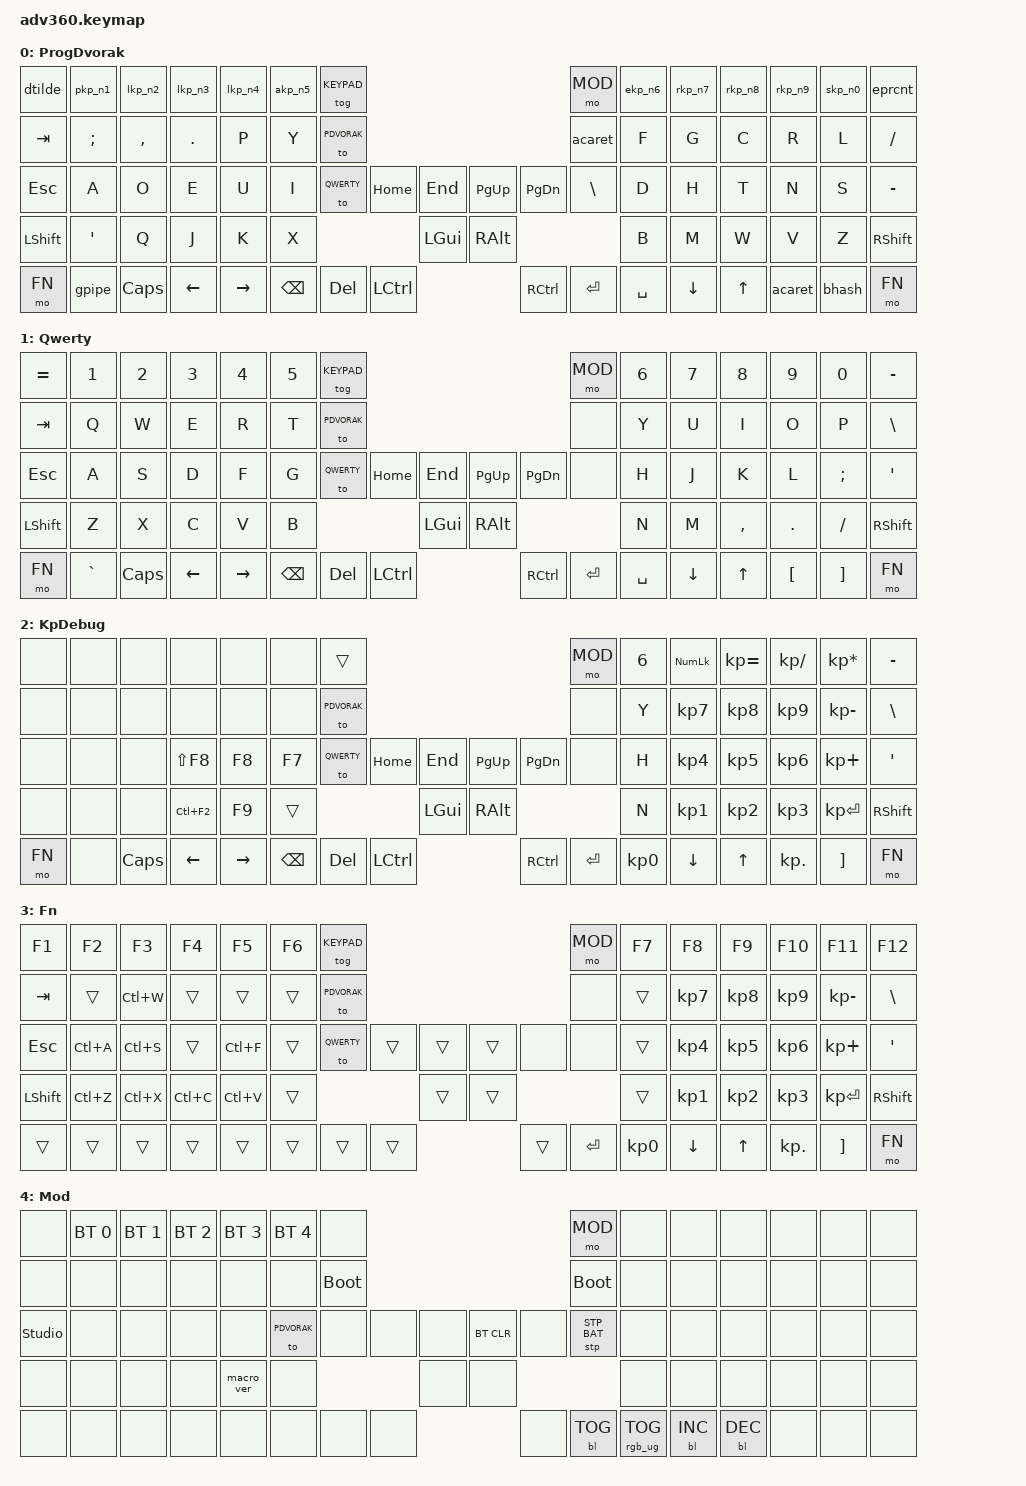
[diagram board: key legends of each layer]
#include <behaviors.dtsi>
#include <dt-bindings/zmk/keys.h>
#include <dt-bindings/zmk/bt.h>
#include <dt-bindings/zmk/rgb.h>
#include <dt-bindings/zmk/stp.h>
#include <dt-bindings/zmk/backlight.h>
#include <dt-bindings/zmk/pointing.h>

#define PDVORAK 0
#define QWERTY  1
#define KEYPAD 2
#define FN 3
#define MOD 4
/ {
    behaviors {
      #include "macros.dtsi"
      #include "version.dtsi"

      hm: homerow_mods {
          compatible = "zmk,behavior-hold-tap";
          label = "HOMEROW_MODS";
          #binding-cells = <2>;
          tapping-term-ms = <200>;
          quick_tap_ms = <175>;
          flavor = "tap-preferred";
          bindings = <&kp>, <&kp>;
      };
      gpipe: grave_pipe {
          compatible = "zmk,behavior-mod-morph";
          label = "grave_pipe";
          #binding-cells = <0>;
          bindings = <&kp GRAVE>, <&kp PIPE>;
          mods = <(LGUI|LSHIFT|RGUI|RSHIFT)>;
      };
      ppipe: pipe_pipe {
          compatible = "zmk,behavior-mod-morph";
          label = "pipe_pipe";
          #binding-cells = <0>;
          bindings = <&kp PIPE>, <&kp PIPE>;
          mods = <(LGUI|LSHIFT|RGUI|RSHIFT)>;
      };
      pkp_n1: plus_kp_n1 {
          compatible = "zmk,behavior-mod-morph";
          label = "plus_kp_n1";
          #binding-cells = <0>;
          bindings = <&kp PLUS>, <&kp KP_N1>;
          mods = <(LGUI|LSHIFT|RGUI|RSHIFT)>;
      };
      lkp_n2: left_bracket_kp_n2 {
          compatible = "zmk,behavior-mod-morph";
          label = "left_bracket_kp_n2";
          #binding-cells = <0>;
          bindings = <&kp LEFT_BRACKET>, <&kp KP_N2>;
          mods = <(LGUI|LSHIFT|RGUI|RSHIFT)>;
      };
      lkp_n3: left_brace_kp_n3 {
          compatible = "zmk,behavior-mod-morph";
          label = "left_brace_kp_n3";
          #binding-cells = <0>;
          bindings = <&kp LEFT_BRACE>, <&kp KP_N3>;
          mods = <(LGUI|LSHIFT|RGUI|RSHIFT)>;
      };
      lkp_n4: left_parenthesis_kp_n4 {
          compatible = "zmk,behavior-mod-morph";
          label = "left_parenthesis_kp_n4";
          #binding-cells = <0>;
          bindings = <&kp LEFT_PARENTHESIS>, <&kp KP_N4>;
          mods = <(LGUI|LSHIFT|RGUI|RSHIFT)>;
      };
      akp_n5: amps_kp_n5 {
          compatible = "zmk,behavior-mod-morph";
          label = "amps_kp_n5";
          #binding-cells = <0>;
          bindings = <&kp AMPS>, <&kp KP_N5>;
          mods = <(LGUI|LSHIFT|RGUI|RSHIFT)>;
      };
      ekp_n6: equal_kp_n6 {
          compatible = "zmk,behavior-mod-morph";
          label = "equal_kp_n6";
          #binding-cells = <0>;
          bindings = <&kp EQUAL>, <&kp KP_N6>;
          mods = <(LGUI|LSHIFT|RGUI|RSHIFT)>;
      };
      rkp_n7: right_parenthesis_kp_n7 {
          compatible = "zmk,behavior-mod-morph";
          label = "right_parenthesis_kp_n7";
          #binding-cells = <0>;
          bindings = <&kp RIGHT_PARENTHESIS>, <&kp KP_N7>;
          mods = <(LGUI|LSHIFT|RGUI|RSHIFT)>;
      };
      rkp_n8: right_brace_kp_n8 {
          compatible = "zmk,behavior-mod-morph";
          label = "right_brace_kp_n8";
          #binding-cells = <0>;
          bindings = <&kp RIGHT_BRACE>, <&kp KP_N8>;
          mods = <(LGUI|LSHIFT|RGUI|RSHIFT)>;
      };
      rkp_n9: right_bracket_kp_n9 {
          compatible = "zmk,behavior-mod-morph";
          label = "right_bracket_kp_n9";
          #binding-cells = <0>;
          bindings = <&kp RIGHT_BRACKET>, <&kp KP_N9>;
          mods = <(LGUI|LSHIFT|RGUI|RSHIFT)>;
      };
      skp_n0: star_kp_n0 {
          compatible = "zmk,behavior-mod-morph";
          label = "star_kp_n0";
          #binding-cells = <0>;
          bindings = <&kp STAR>, <&kp KP_N0>;
          mods = <(LGUI|LSHIFT|RGUI|RSHIFT)>;
      };
      eprcnt: excl_prcnt {
          compatible = "zmk,behavior-mod-morph";
          label = "excl_prcnt";
          #binding-cells = <0>;
          bindings = <&kp EXCL>, <&kp PRCNT>;
          mods = <(LGUI|LSHIFT|RGUI|RSHIFT)>;
      };
      dgrave: dllr_grave {
          compatible = "zmk,behavior-mod-morph";
          label = "dllr_grave";
          #binding-cells = <0>;
          bindings = <&kp DLLR>, <&kp GRAVE>;
          mods = <(LGUI|LSHIFT|RGUI|RSHIFT)>;
      };
      dtilde: dllr_tilde {
          compatible = "zmk,behavior-mod-morph";
          label = "dllr_tilde";
          #binding-cells = <0>;
          bindings = <&kp DLLR>, <&kp TILDE>;
          mods = <(LGUI|LSHIFT|RGUI|RSHIFT)>;
      };
      ggrave: grave_grave {
          compatible = "zmk,behavior-mod-morph";
          label = "grave_grave";
          #binding-cells = <0>;
          bindings = <&kp GRAVE>, <&kp GRAVE>;
          mods = <(LGUI|LSHIFT|RGUI|RSHIFT)>;
      };
      pgrave: pipe_grave {
          compatible = "zmk,behavior-mod-morph";
          label = "pipe_grave";
          #binding-cells = <0>;
          bindings = <&kp GRAVE>, <&kp PIPE>;
          mods = <(LGUI|LSHIFT|RGUI|RSHIFT)>;
      };
      bhash: bslh_hash {
          compatible = "zmk,behavior-mod-morph";
          label = "bslh_hash";
          #binding-cells = <0>;
          bindings = <&kp BSLH>, <&kp HASH>;
          mods = <(LGUI|LSHIFT|RGUI|RSHIFT)>;
      };
      acaret: at_caret {
          compatible = "zmk,behavior-mod-morph";
          label = "at_caret";
          #binding-cells = <0>;
          bindings = <&kp AT>, <&kp CARET>;
          mods = <(LGUI|LSHIFT|RGUI|RSHIFT)>;
      };
    };

  keymap {
    compatible = "zmk,keymap";

    dvorak_prog {
        display-name = "ProgDvorak";
        bindings = <
            &dtilde    &pkp_n1   &lkp_n2     &lkp_n3   &lkp_n4    &akp_n5  &tog KEYPAD                                                             &mo MOD  &ekp_n6  &rkp_n7  &rkp_n8   &rkp_n9   &skp_n0  &eprcnt
            &kp TAB    &kp SEMI  &kp COMMA   &kp DOT   &kp P      &kp Y    &to  PDVORAK                                                            &acaret  &kp F    &kp G    &kp C     &kp R     &kp L    &kp FSLH
            &kp ESC    &kp A     &kp O       &kp E     &kp U      &kp I    &to  QWERTY      &kp HOME   &kp END   &kp PG_UP   &kp PG_DN             &kp BSLH &kp D    &kp H    &kp T     &kp N     &kp S    &kp MINUS
            &kp LSHFT  &kp SQT   &kp Q       &kp J     &kp K      &kp X                                &kp LGUI  &kp RALT                                   &kp B    &kp M    &kp W     &kp V     &kp Z    &kp RSHFT
            &mo FN     &gpipe   &kp CAPS    &kp LEFT  &kp RIGHT                   &kp BSPC &kp DEL   &kp LCTRL &kp RCTRL   &kp ENTER   &kp SPACE                    &kp DOWN &kp UP    &acaret   &bhash   &mo FN
        >;
    };
    qwerty {
      display-name = "Qwerty";
      bindings = <
        &kp EQUAL &kp N1    &kp N2   &kp N3   &kp N4     &kp N5 &tog KEYPAD                                                           &mo MOD &kp N6 &kp N7 &kp N8    &kp N9   &kp N0   &kp MINUS
        &kp TAB   &kp Q     &kp W    &kp E    &kp R      &kp T  &to  PDVORAK                                                          &none   &kp Y  &kp U  &kp I     &kp O    &kp P    &kp BSLH
        &kp ESC   &kp A     &kp S    &kp D    &kp F      &kp G  &to  QWERTY     &kp HOME  &kp END   &kp PG_UP &kp PG_DN               &none   &kp H  &kp J  &kp K     &kp L    &kp SEMI &kp SQT
        &kp LSHFT &kp Z     &kp X    &kp C    &kp V      &kp B                            &kp LGUI  &kp RALT                                  &kp N  &kp M  &kp COMMA &kp DOT  &kp FSLH &kp RSHFT
        &mo FN    &kp GRAVE &kp CAPS &kp LEFT &kp RIGHT                &kp BSPC &kp DEL  &kp LCTRL &kp RCTRL &kp ENTER &kp SPACE                    &kp DOWN &kp UP  &kp LBKT &kp RBKT &mo FN
      >;
    };
    keypad {
      display-name = "KpDebug";
      //lhs debug on home row
      //rhs keypad
      bindings = <
        &none   &none     &none    &none      &none   &none  &trans                                                                &mo MOD &kp N6 &kp KP_NUM &kp KP_EQUAL &kp KP_DIVIDE &kp KP_MULTIPLY &kp MINUS
        &none   &none     &none    &none      &none   &none  &to  PDVORAK                                                          &none   &kp Y  &kp KP_N7  &kp KP_N8    &kp KP_N9     &kp KP_MINUS    &kp BSLH
        &none   &none     &none    &kp LS(F8) &kp F8  &kp F7 &to  QWERTY     &kp HOME  &kp END   &kp PG_UP  &kp PG_DN              &none   &kp H  &kp KP_N4  &kp KP_N5    &kp KP_N6     &kp KP_PLUS     &kp SQT
        &none   &none     &none    &kp LC(F2) &kp F9  &trans                            &kp LGUI  &kp RALT                                  &kp N  &kp KP_N1  &kp KP_N2    &kp KP_N3     &kp KP_ENTER    &kp RSHFT
        &mo FN  &none     &kp CAPS &kp LEFT   &kp RIGHT                &kp BSPC &kp DEL   &kp LCTRL &kp RCTRL &kp ENTER &kp KP_N0                     &kp DOWN    &kp UP     &kp KP_DOT    &kp RBKT        &mo FN
      >;
    };
    fn {
      display-name = "Fn";
      bindings = <
        &kp F1    &kp F2    &kp F3    &kp F4    &kp F5    &kp F6 &tog KEYPAD                                                        &mo MOD &kp F7  &kp F8     &kp F9     &kp F10       &kp F11         &kp F12
        &kp TAB   &trans    &kp LC(W) &trans    &trans    &trans &to  PDVORAK                                                    &none   &trans  &kp KP_N7  &kp KP_N8  &kp KP_N9     &kp KP_MINUS    &kp BSLH
        &kp ESC   &kp LC(A) &kp LC(S) &trans    &kp LC(F) &trans &to  QWERTY         &trans &trans &trans &none                  &none   &trans  &kp KP_N4  &kp KP_N5  &kp KP_N6     &kp KP_PLUS     &kp SQT
        &kp LSHFT &kp LC(Z) &kp LC(X) &kp LC(C) &kp LC(V) &trans                           &trans &trans                                 &trans  &kp KP_N1  &kp KP_N2  &kp KP_N3     &kp KP_ENTER    &kp RSHFT
        &trans    &trans    &trans    &trans    &trans                   &trans &trans &trans &trans &kp ENTER &kp KP_N0                         &kp DOWN   &kp UP     &kp KP_DOT    &kp RBKT        &mo FN
      >;
    };
    mod {
      display-name = "Mod";
      bindings = <
        &none &bt BT_SEL 0 &bt BT_SEL 1 &bt BT_SEL 2 &bt BT_SEL 3 &bt BT_SEL 4 &none                                                                     &mo MOD      &none        &none        &none        &none &none &none
        &none &none        &none        &none        &none        &none        &bootloader                                                               &bootloader  &none        &none        &none        &none &none &none
        &studio_unlock     &none        &none        &none        &none        &to PDVORAK             &none &none &none &bt BT_CLR &none                &stp STP_BAT &none        &none        &none        &none &none &none
        &none &none        &none        &none        &macro_ver   &none                                      &none &none                                              &none        &none        &none        &none &none &none
        &none &none        &none        &none        &none                                       &none &none &none &none &bl BL_TOG &rgb_ug RGB_TOG                                &bl BL_INC   &bl BL_DEC   &none &none &none
      >;
    };
    extra1 { 
      display-name = "Red";    
      status = "reserved";
    };

    extra2 { 
      display-name = "Purple";    
      status = "reserved";
    };

    extra3 { 
      display-name = "Cyan";    
      status = "reserved";
    };

    extra4 { 
      display-name = "Yellow";    
      status = "reserved";
    };
  };
};
